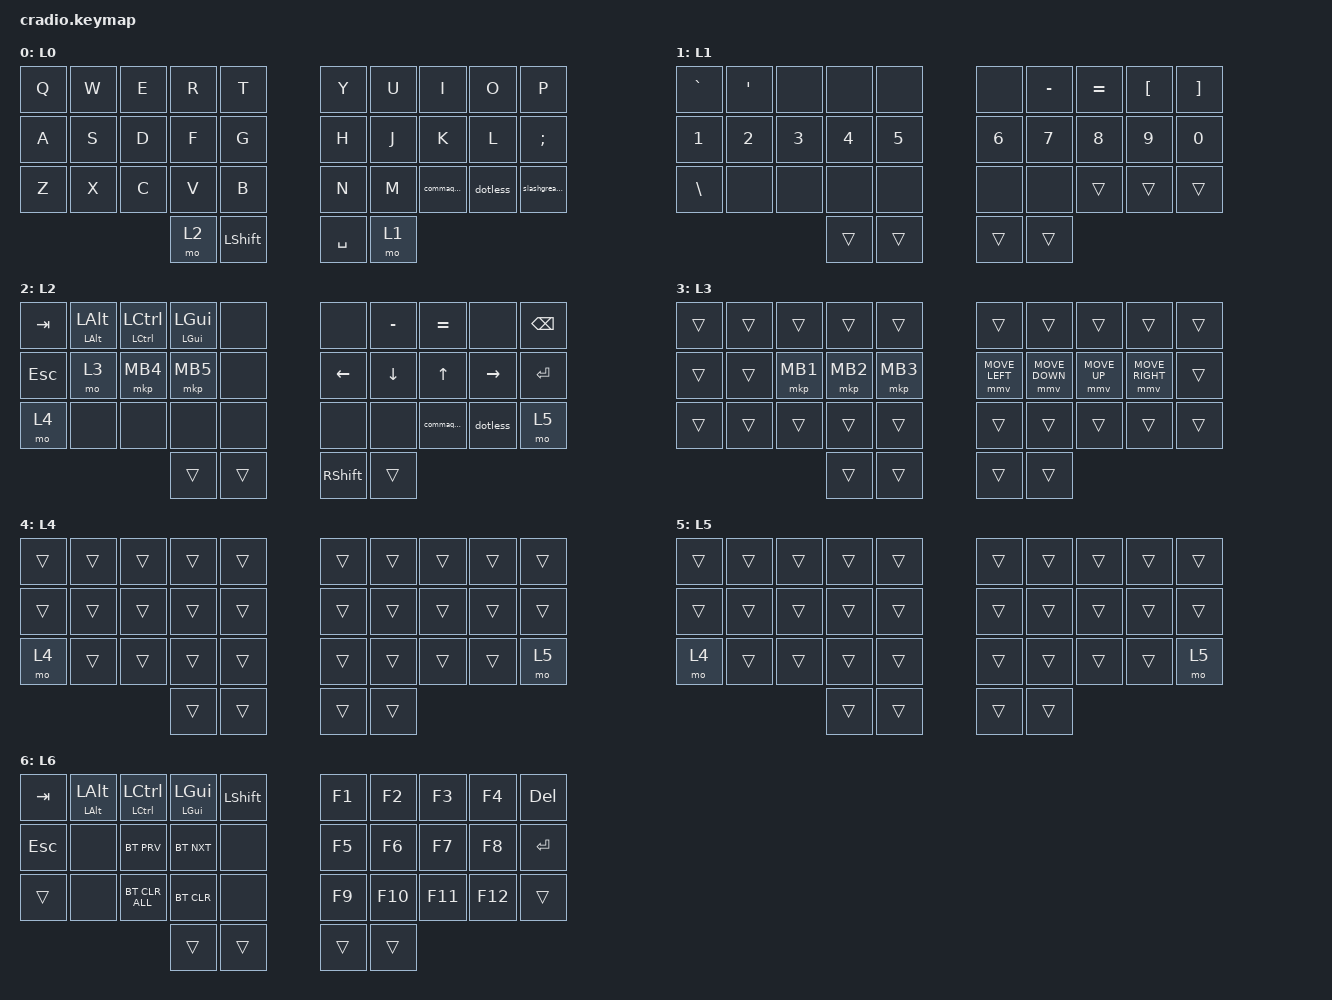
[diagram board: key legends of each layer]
#define ZMK_POINTING_DEFAULT_MOVE_VAL 1200

#include <behaviors.dtsi>
#include <dt-bindings/zmk/bt.h>
#include <dt-bindings/zmk/keys.h>
#include <dt-bindings/zmk/pointing.h>

/ {
    behaviors {
        commaqmrk: commaqmrk {
            compatible = "zmk,behavior-mod-morph";
            label = "COMMAQMRK";
            bindings = <&kp COMMA>, <&kp QUESTION>;

            #binding-cells = <0>;
            mods = <(MOD_LSFT|MOD_RSFT)>;
        };

        dotless: dotless {
            compatible = "zmk,behavior-mod-morph";
            label = "DOTLESS";
            bindings = <&kp PERIOD>, <&kp LESS_THAN>;

            #binding-cells = <0>;
            mods = <(MOD_LSFT|MOD_RSFT)>;
        };

        slashgreater: slashgreater {
            compatible = "zmk,behavior-mod-morph";
            label = "SLASHGREATER";
            bindings = <&kp SLASH>, <&kp GREATER_THAN>;

            #binding-cells = <0>;
            mods = <(MOD_LSFT|MOD_RSFT)>;
        };

        stickyhold: stickyhold {
            compatible = "zmk,behavior-hold-tap";
            label = "STICKYHOLD";
            bindings = <&kp>, <&sk>;

            #binding-cells = <2>;
            tapping-term-ms = <300>;
        };
    };

    keymap {
        compatible = "zmk,keymap";

        L0 {
            bindings = <
&kp Q  &kp W  &kp E  &kp R  &kp T        &kp Y      &kp U  &kp I       &kp O     &kp P
&kp A  &kp S  &kp D  &kp F  &kp G        &kp H      &kp J  &kp K       &kp L     &kp SEMI
&kp Z  &kp X  &kp C  &kp V  &kp B        &kp N      &kp M  &commaqmrk  &dotless  &slashgreater
                     &mo 2  &kp LSHFT    &kp SPACE  &mo 1
            >;
        };

        L1 {
            bindings = <
&kp GRAVE  &kp APOS  &none   &none   &none     &none   &kp MINUS  &kp EQUAL  &kp LBKT  &kp RBKT
&kp N1     &kp N2    &kp N3  &kp N4  &kp N5    &kp N6  &kp N7     &kp N8     &kp N9    &kp N0
&kp BSLH   &none     &none   &none   &none     &none   &none      &trans     &trans    &trans
                             &trans  &trans    &trans  &trans
            >;
        };

        L2 {
            bindings = <
&kp TAB  &stickyhold LEFT_ALT LEFT_ALT  &stickyhold LCTRL LCTRL  &stickyhold LEFT_GUI LEFT_GUI  &none     &none            &kp MINUS       &kp EQUAL     &none            &kp BACKSPACE
&kp ESC  &mo 3                          &mkp MB4                 &mkp MB5                       &none     &kp LEFT_ARROW   &kp DOWN_ARROW  &kp UP_ARROW  &kp RIGHT_ARROW  &kp ENTER
&mo 4    &none                          &none                    &none                          &none     &none            &none           &commaqmrk    &dotless         &mo 5
                                                                 &trans                         &trans    &kp RIGHT_SHIFT  &trans
            >;
        };

        L3 {
            bindings = <
&trans  &trans  &trans    &trans    &trans      &trans          &trans          &trans        &trans           &trans
&trans  &trans  &mkp MB1  &mkp MB2  &mkp MB3    &mmv MOVE_LEFT  &mmv MOVE_DOWN  &mmv MOVE_UP  &mmv MOVE_RIGHT  &trans
&trans  &trans  &trans    &trans    &trans      &trans          &trans          &trans        &trans           &trans
                          &trans    &trans      &trans          &trans
            >;
        };

        L4 {
            bindings = <
&trans  &trans  &trans  &trans  &trans    &trans  &trans  &trans  &trans  &trans
&trans  &trans  &trans  &trans  &trans    &trans  &trans  &trans  &trans  &trans
&mo 4   &trans  &trans  &trans  &trans    &trans  &trans  &trans  &trans  &mo 5
                        &trans  &trans    &trans  &trans
            >;
        };

        L5 {
            bindings = <
&trans  &trans  &trans  &trans  &trans    &trans  &trans  &trans  &trans  &trans
&trans  &trans  &trans  &trans  &trans    &trans  &trans  &trans  &trans  &trans
&mo 4   &trans  &trans  &trans  &trans    &trans  &trans  &trans  &trans  &mo 5
                        &trans  &trans    &trans  &trans
            >;
        };

        L6 {
            bindings = <
&kp TAB     &stickyhold LALT LALT  &stickyhold LCTRL LCTRL  &stickyhold LGUI LEFT_GUI  &kp LSHFT    &kp F1  &kp F2   &kp F3   &kp F4   &kp DELETE
&kp ESCAPE  &none                  &bt BT_PRV               &bt BT_NXT                 &none        &kp F5  &kp F6   &kp F7   &kp F8   &kp RETURN
&trans      &none                  &bt BT_CLR_ALL           &bt BT_CLR                 &none        &kp F9  &kp F10  &kp F11  &kp F12  &trans
                                                            &trans                     &trans       &trans  &trans
            >;
        };
    };

    conditional_layers {
        compatible = "zmk,conditional-layers";

        bltfn {
            if-layers = <4 5>;
            then-layer = <6>;
        };
    };
};
